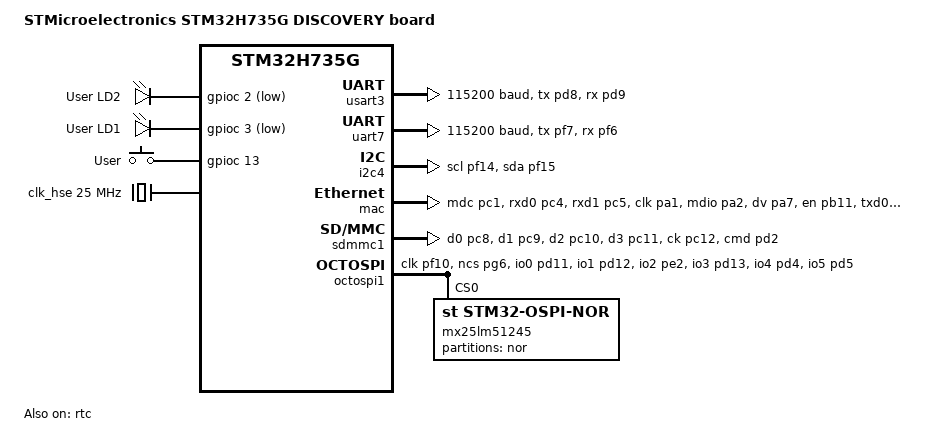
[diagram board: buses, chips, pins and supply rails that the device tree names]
/*
 * Copyright (c) 2021 SILA Embedded Solutions GmbH
 *
 * SPDX-License-Identifier: Apache-2.0
 */

/dts-v1/;
#include <st/h7/stm32h735Xg.dtsi>
#include <st/h7/stm32h735igkx-pinctrl.dtsi>

/ {
	model = "STMicroelectronics STM32H735G DISCOVERY board";
	compatible = "st,stm32h735g-disco";

	chosen {
		zephyr,console = &usart3;
		zephyr,shell-uart = &usart3;
		zephyr,sram = &sram0;
		zephyr,flash = &flash0;
	};

	leds {
		compatible = "gpio-leds";
		red_led: led_1 {
			gpios = <&gpioc 2 GPIO_ACTIVE_LOW>;
			label = "User LD2";
		};
		green_led: led_2 {
			gpios = <&gpioc 3 GPIO_ACTIVE_LOW>;
			label = "User LD1";
		};
	};

	gpio_keys {
		compatible = "gpio-keys";
		user_button: button {
			label = "User";
			gpios = <&gpioc 13 GPIO_ACTIVE_HIGH>;
		};
	};

	aliases {
		led0 = &red_led;
		led1 = &green_led;
		sw0 = &user_button;
	};
};

&clk_hse {
	clock-frequency = <DT_FREQ_M(25)>;
	status = "okay";
};

&clk_lse {
	status = "okay";
};

&clk_lsi {
	status = "okay";
};

&pll {
	div-m = <5>;
	mul-n = <110>;
	div-p = <1>;
	div-q = <4>;
	div-r = <2>;
	clocks = <&clk_hse>;
	status = "okay";
};

&rcc {
	clocks = <&pll>;
	clock-frequency = <DT_FREQ_M(550)>;
	d1cpre = <1>;
	hpre = <2>;
	d1ppre = <2>;
	d2ppre1 = <2>;
	d2ppre2 = <2>;
	d3ppre = <2>;
};

&usart3 {
	pinctrl-0 = <&usart3_tx_pd8 &usart3_rx_pd9>;
	pinctrl-names = "default";
	current-speed = <115200>;
	status = "okay";
};

&uart7 {
	pinctrl-0 = <&uart7_tx_pf7 &uart7_rx_pf6>;
	pinctrl-names = "default";
	current-speed = <115200>;
};

&i2c4 {
	pinctrl-0 = <&i2c4_scl_pf14 &i2c4_sda_pf15>;
	pinctrl-names = "default";
};

&mac {
	pinctrl-0 = <&eth_mdc_pc1
		     &eth_rxd0_pc4
		     &eth_rxd1_pc5
		     &eth_ref_clk_pa1
		     &eth_mdio_pa2
		     &eth_crs_dv_pa7
		     &eth_tx_en_pb11
		     &eth_txd0_pb12
		     &eth_txd1_pb13>;
	pinctrl-names = "default";
};

&sdmmc1 {
	pinctrl-0 = <&sdmmc1_d0_pc8
		     &sdmmc1_d1_pc9
		     &sdmmc1_d2_pc10
		     &sdmmc1_d3_pc11
		     &sdmmc1_ck_pc12
		     &sdmmc1_cmd_pd2>;
	pinctrl-names = "default";
	cd-gpios = <&gpiof 5 GPIO_ACTIVE_LOW>;
};

&octospi1 {
	pinctrl-0 = <&octospim_p1_clk_pf10 &octospim_p1_ncs_pg6
		     &octospim_p1_io0_pd11 &octospim_p1_io1_pd12
		     &octospim_p1_io2_pe2 &octospim_p1_io3_pd13
		     &octospim_p1_io4_pd4 &octospim_p1_io5_pd5
		     &octospim_p1_io6_pg9 &octospim_p1_io7_pd7
		     &octospim_p1_dqs_pb2>;
	pinctrl-names = "default";

	status = "okay";

	mx25lm51245: ospi-nor-flash@0 {
		compatible = "st,stm32-ospi-nor";
		reg = <0>;
		ospi-max-frequency = <DT_FREQ_M(50)>;
		size = <DT_SIZE_M(512)>; /* 64 MBytes */
		spi-bus-width = <OSPI_OPI_MODE>;
		data-rate = <OSPI_DTR_TRANSFER>;
		status = "okay";

		partitions {
			   compatible = "fixed-partitions";
			   #address-cells = <1>;
			   #size-cells = <1>;

			   partition@0 {
			       label = "nor";
			       reg = <0x00000000 DT_SIZE_M(4)>;
			   };
		};
	};
};

&rtc {
	clocks = <&rcc STM32_CLOCK_BUS_APB4 0x00010000>,
		 <&rcc STM32_SRC_LSI RTC_SEL(2)>;
	status = "okay";

	backup_regs {
		status = "okay";
	};
};
